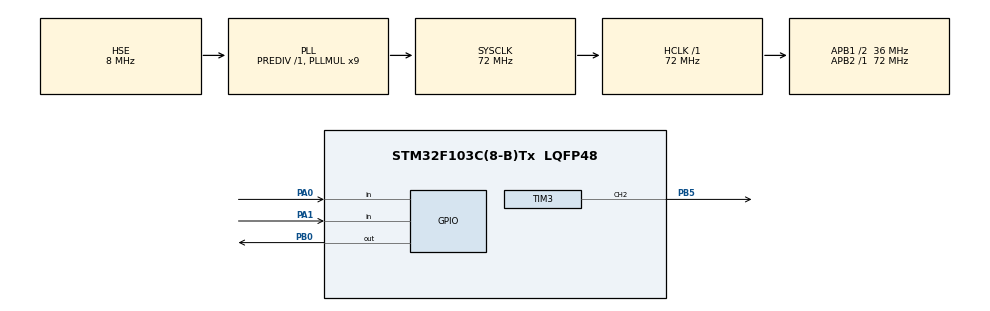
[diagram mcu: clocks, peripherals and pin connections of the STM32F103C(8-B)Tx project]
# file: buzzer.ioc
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Mcu.Family=STM32F1
Mcu.Name=STM32F103C(8-B)Tx
Mcu.Package=LQFP48
NVIC.PriorityGroup=NVIC_PRIORITYGROUP_4
NVIC.TIM3_IRQn=true\:0\:0\:false\:false\:true\:true\:true\:true
PA0-WKUP.Signal=GPIO_Input
PA1.Signal=GPIO_Input
PB0.GPIO_Speed=GPIO_SPEED_FREQ_HIGH
PB0.Signal=GPIO_Output
PB5.Signal=S_TIM3_CH2
PD0-OSC_IN.Mode=HSE-External-Oscillator
PD0-OSC_IN.Signal=RCC_OSC_IN
PD1-OSC_OUT.Mode=HSE-External-Oscillator
PD1-OSC_OUT.Signal=RCC_OSC_OUT
ProjectManager.HeapSize=0x200
ProjectManager.StackSize=0x400
ProjectManager.TargetToolchain=MDK-ARM V5.32
RCC.AHBFreq_Value=72000000
RCC.APB1CLKDivider=RCC_HCLK_DIV2
RCC.APB1Freq_Value=36000000
RCC.APB1TimFreq_Value=72000000
RCC.APB2Freq_Value=72000000
RCC.APB2TimFreq_Value=72000000
RCC.HCLKFreq_Value=72000000
RCC.PLLMUL=RCC_PLL_MUL9
RCC.PLLSourceVirtual=RCC_PLLSOURCE_HSE
RCC.SYSCLKFreq_VALUE=72000000
RCC.SYSCLKSource=RCC_SYSCLKSOURCE_PLLCLK
RCC.USBFreq_Value=72000000
SH.S_TIM3_CH2.0=TIM3_CH2,PWM Generation2 CH2
TIM3.Channel-PWM\ Generation2\ CH2=TIM_CHANNEL_2
TIM3.Prescaler=71
VP_SYS_VS_ND.Mode=No_Debug
board=custom

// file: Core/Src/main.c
/* USER CODE BEGIN Header */
/**
  ******************************************************************************
  * @file           : main.c
  * @brief          : Main program body
  ******************************************************************************
  * @attention
  *
  * Copyright (c) 2023 STMicroelectronics.
  * All rights reserved.
  *
  * This software is licensed under terms that can be found in the LICENSE file
  * in the root directory of this software component.
  * If no LICENSE file comes with this software, it is provided AS-IS.
  *
  ******************************************************************************
  */
/* USER CODE END Header */
#include "main.h"
#include "tim.h"
#include "gpio.h"

/* USER CODE BEGIN Includes */
#include "buzzer.h"
/* USER CODE END Includes */

void SystemClock_Config(void);

int main(void)
{

  /* MCU Configuration--------------------------------------------------------*/

  /* Reset of all peripherals, Initializes the Flash interface and the Systick. */
  HAL_Init();

  /* Configure the system clock */
  SystemClock_Config();

  /* Initialize all configured peripherals */
  MX_GPIO_Init();
  MX_TIM3_Init();
  /* USER CODE BEGIN 2 */
	uint8_t BuzzerState=0;
	uint8_t i=0;
	uint32_t Freq[7]={3822,3406,3034,2864,2551,2272,2025};
  /* USER CODE END 2 */

  /* Infinite loop */
  /* USER CODE BEGIN WHILE */
  while (1)
  {
	  if(HAL_GPIO_ReadPin(GPIOA,GPIO_PIN_0)==GPIO_PIN_RESET)
	  {
		HAL_Delay(100);
		  if(HAL_GPIO_ReadPin(GPIOA,GPIO_PIN_0)==GPIO_PIN_RESET)
		  {
			BuzzerState=!BuzzerState;
		  }
	  }
	  if(BuzzerState==0)
		  BuzzerClose();
	  else
		  BuzzerOpen();
	  HAL_GPIO_WritePin(GPIOB,GPIO_PIN_0,BuzzerState);
	  if(HAL_GPIO_ReadPin(GPIOA,GPIO_PIN_1)==GPIO_PIN_RESET)
	  {
		HAL_Delay(100);
		  if(HAL_GPIO_ReadPin(GPIOA,GPIO_PIN_1)==GPIO_PIN_RESET)
		  {
			i++;
			  if(i>6)
				  i=0;
		  }
	  }
	  BuzzerChangeFreqen(Freq[i]);

    /* USER CODE END WHILE */

  }
}

void SystemClock_Config(void)
{
  RCC_OscInitTypeDef RCC_OscInitStruct = {0};
  RCC_ClkInitTypeDef RCC_ClkInitStruct = {0};

  /** Initializes the RCC Oscillators according to the specified parameters
  * in the RCC_OscInitTypeDef structure.
  */
  RCC_OscInitStruct.OscillatorType = RCC_OSCILLATORTYPE_HSE;
  RCC_OscInitStruct.HSEState = RCC_HSE_ON;
  RCC_OscInitStruct.HSEPredivValue = RCC_HSE_PREDIV_DIV1;
  RCC_OscInitStruct.HSIState = RCC_HSI_ON;
  RCC_OscInitStruct.PLL.PLLState = RCC_PLL_ON;
  RCC_OscInitStruct.PLL.PLLSource = RCC_PLLSOURCE_HSE;
  RCC_OscInitStruct.PLL.PLLMUL = RCC_PLL_MUL9;
  if (HAL_RCC_OscConfig(&RCC_OscInitStruct) != HAL_OK)
  {
    Error_Handler();
  }

  /** Initializes the CPU, AHB and APB buses clocks
  */
  RCC_ClkInitStruct.ClockType = RCC_CLOCKTYPE_HCLK|RCC_CLOCKTYPE_SYSCLK
                              |RCC_CLOCKTYPE_PCLK1|RCC_CLOCKTYPE_PCLK2;
  RCC_ClkInitStruct.SYSCLKSource = RCC_SYSCLKSOURCE_PLLCLK;
  RCC_ClkInitStruct.AHBCLKDivider = RCC_SYSCLK_DIV1;
  RCC_ClkInitStruct.APB1CLKDivider = RCC_HCLK_DIV2;
  RCC_ClkInitStruct.APB2CLKDivider = RCC_HCLK_DIV1;

  if (HAL_RCC_ClockConfig(&RCC_ClkInitStruct, FLASH_LATENCY_2) != HAL_OK)
  {
    Error_Handler();
  }
}

void Error_Handler(void)
{
  __disable_irq();
  while (1)
  {
  }
}
